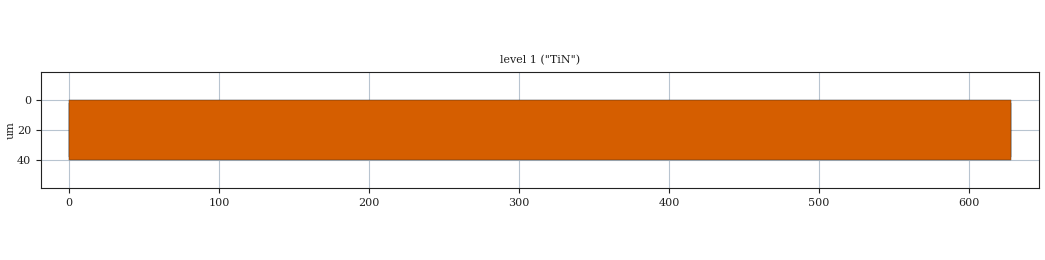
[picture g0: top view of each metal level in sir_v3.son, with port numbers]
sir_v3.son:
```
FTYP SONPROJ 15 ! Sonnet Project File
VER 
HEADER
LIC 
DAT 07/21/2026 13:02:12
BUILT_BY_CREATED unknown "unknown version" 07/21/2026 13:02:12
BUILT_BY_SAVED unknown "unknown version"
ANN Created by pysonnet 0.0.4
END HEADER
DIM
CDVY SM
FREQ GHZ
RSVY OHCM
SRES OHSQ
IND NH
LNG UM
ANG DEG
CON /OH
CAP PF
RES OH
END DIM
GEO


SNPANG 45


TMET "Free Space" 0 FREESPACE 376.7303136 0 0 0
BMET "Free Space" 0 FREESPACE 376.7303136 0 0 0
MET "TiN" 1 SUP 0 0 0 12
MET "Nb" 2 SUP 0 0 0 0.1




BOX 2 628.0 40.0 400 400 20 0
1000 1 1 0 0 0 0 "Air"      
0.15 10.3 1 1e-05 0 0 0 "aSi"      
500 9.3 1 0 0 0 0 "Sapphire" A 11.5 1 0 0 0

TECHLAY METAL "Nb"  <UNSPECIFIED> -1 0

0 0 1 N 0 1 1 100 100 0 0 0 Y

END
END

TECHLAY METAL "TiN"  <UNSPECIFIED> -1 0

1 0 0 N 0 1 1 100 100 0 0 0 Y

END
END



POR1 STD 

POLY 80 1
3
1 50 0 0 0 0.0 20.0  
POR1 STD 

POLY 81 1
1
2 50 0 0 0 628.3 20.0  



NUM 8

1 5 -1 N 80 1 1 100 100 0 0 0 Y

TLAYNAM "TiN" INH
0.00000000 2.30000000
18.40000000 2.30000000
18.40000000 37.70000000
0.00000000 37.70000000
0.00000000 2.30000000

END

1 5 -1 N 0 1 1 100 100 0 0 0 Y

TLAYNAM "TiN" INH
18.40000000 19.45000000
184.50000000 19.45000000
184.50000000 20.55000000
18.40000000 20.55000000
18.40000000 19.45000000

END

1 5 -1 N 0 1 1 100 100 0 0 0 Y

TLAYNAM "TiN" INH
184.50000000 2.30000000
220.20000000 2.30000000
220.20000000 37.70000000
184.50000000 37.70000000
184.50000000 2.30000000

END

1 5 -1 N 0 1 1 100 100 0 0 0 Y

TLAYNAM "TiN" INH
220.20000000 19.45000000
408.10000000 19.45000000
408.10000000 20.55000000
220.20000000 20.55000000
220.20000000 19.45000000

END

1 5 -1 N 0 1 1 100 100 0 0 0 Y

TLAYNAM "TiN" INH
408.10000000 2.30000000
443.80000000 2.30000000
443.80000000 37.70000000
408.10000000 37.70000000
408.10000000 2.30000000

END

1 5 -1 N 0 1 1 100 100 0 0 0 Y

TLAYNAM "TiN" INH
443.80000000 19.45000000
609.90000000 19.45000000
609.90000000 20.55000000
443.80000000 20.55000000
443.80000000 19.45000000

END

1 5 -1 N 81 1 1 100 100 0 0 0 Y

TLAYNAM "TiN" INH
609.90000000 2.30000000
628.30000000 2.30000000
628.30000000 37.70000000
609.90000000 37.70000000
609.90000000 2.30000000

END

1 5 -1 N 0 1 1 100 100 0 0 0 Y

TLAYNAM "Nb" INH
0.00000000 0.00000000
0.00000000 40.00000000
628.00000000 40.00000000
628.00000000 0.00000000
0.00000000 0.00000000

ENDEND
END GEO
FREQ
ABS_ENTRY 1.0 16.0

END FREQ
CONTROL
STD
OPTIONS  -d
SUBSPLAM Y 20



SPEED 0

CACHE_ABS 1
TARG_ABS 300
Q_ACC N
DET_ABS_RES False

END CONTROL
OPT
MAX 300
VARS

END

END OPT
VARSWP

END VARSWP

FILEOUT





FOLDER .
END FILEOUT
SUBDIV
MAIN $BASENAME_net.son
REFPLANE A 0


END SUBDIV
QSG
IMPORT NO
EXTRA_METAL NO
UNITS NO
ALIGN NO
REF NO
VIEW_RES NO
METALS NO
USED YES
END QSG
SMDFILES

END SMDFILES
TRANSLATOR

END TRANSLATOR
```
